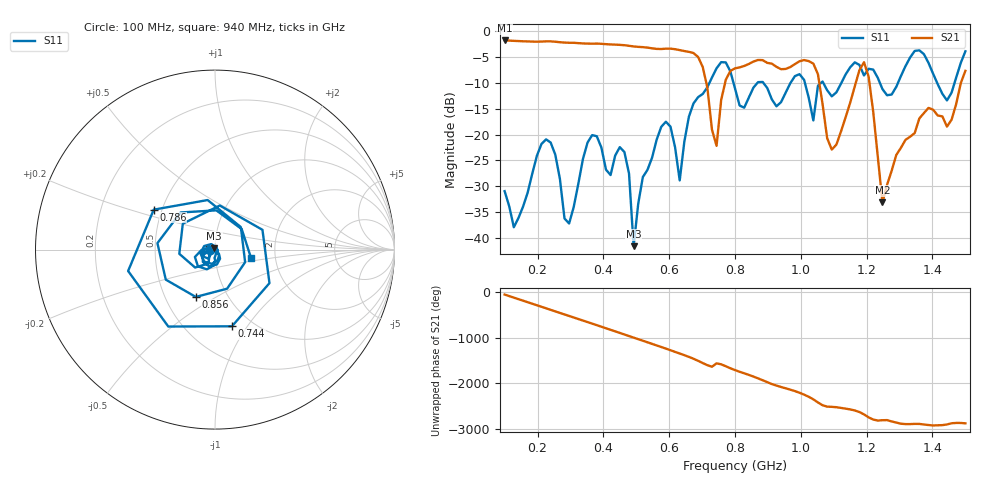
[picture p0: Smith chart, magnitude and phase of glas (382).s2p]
! NanoVNA-App
! Date: 2025-09-25 15:58:27
! Start: 100MHz Stop: 1,5GHz Points: 101
! S-Parameter data: F S11 S21 S12 S22
# Hz S RI R 50
!  Frequency  S11_Real  S11_Imag  S21_Real  S21_Imag  S12_Real  S12_Imag  S22_Real  S22_Imag
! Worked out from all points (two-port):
!   101 points, 100 MHz to 1.5 GHz, reference 50 ohm
!   highest |S21| = -1.80 dB at 100 MHz (marker M1); lowest = -33.1 dB at 1.248 GHz (marker M2)
!   |S21| within 3 dB of the highest: start of sweep to 684.3 MHz
!   lowest |S11| = -41.6 dB at 492 MHz (marker M3), VSWR 1.02, Z = 49.5 + j0.624 ohm
!   |S11| at or under -10 dB: start of sweep to 722.3 MHz; 795.4 MHz to 868.2 MHz (72.79 MHz wide, 8.75 % of centre); 886.1 MHz to 968.8 MHz (82.65 MHz wide, 8.91 % of centre)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
!   S12 and S22 are empty: the file has one direction only
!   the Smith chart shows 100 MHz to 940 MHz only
!   S11 on the Smith chart (normalised r, x): 100 MHz: 0.95, -0.01; 744 MHz: 0.81, -0.85; 786 MHz: 0.45, +0.24; 856 MHz: 0.71, -0.41; 940 MHz: 1.49, -0.15
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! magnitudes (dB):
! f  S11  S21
! 100 MHz  -30.9  -1.8
! 128 MHz  -37.9  -1.9
! 226 MHz  -20.9  -2.0
! 296 MHz  -37.2  -2.2
! 338 MHz  -24.7  -2.4
! 464 MHz  -23.4  -2.7
! 492 MHz  -41.6  -3.0
! 576 MHz  -18.5  -3.5
! 632 MHz  -28.9  -3.7
! 702 MHz  -12.1  -6.9
! 744 MHz  -7.2  -22.2
! 786 MHz  -7.8  -7.7
! 800 MHz  -11.1  -7.2
! 856 MHz  -10.9  -5.9
! 940 MHz  -13.7  -7.4
! 996 MHz  -8.3  -5.8
! 1.038 GHz  -17.3  -6.3
! 1.094 GHz  -12.6  -22.9
! 1.192 GHz  -8.6  -6.0
! 1.248 GHz  -11.2  -33.1
! 1.276 GHz  -12.3  -27.0
! 1.5 GHz  -3.9  -7.7
